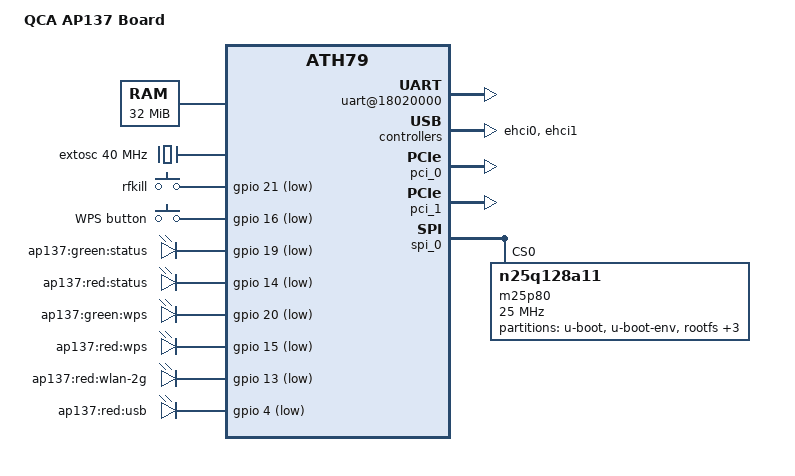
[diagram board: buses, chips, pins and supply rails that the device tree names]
/* Copyright (c) 2016, The Linux Foundation. All rights reserved.
 *
 * Permission to use, copy, modify, and/or distribute this software for any
 * purpose with or without fee is hereby granted, provided that the above
 * copyright notice and this permission notice appear in all copies.
 *
 * THE SOFTWARE IS PROVIDED "AS IS" AND THE AUTHOR DISCLAIMS ALL WARRANTIES
 * WITH REGARD TO THIS SOFTWARE INCLUDING ALL IMPLIED WARRANTIES OF
 * MERCHANTABILITY AND FITNESS. IN NO EVENT SHALL THE AUTHOR BE LIABLE FOR
 * ANY SPECIAL, DIRECT, INDIRECT, OR CONSEQUENTIAL DAMAGES OR ANY DAMAGES
 * WHATSOEVER RESULTING FROM LOSS OF USE, DATA OR PROFITS, WHETHER IN AN
 * ACTION OF CONTRACT, NEGLIGENCE OR OTHER TORTIOUS ACTION, ARISING OUT OF
 * OR IN CONNECTION WITH THE USE OR PERFORMANCE OF THIS SOFTWARE.
 *
 */

/dts-v1/;

#include <dt-bindings/gpio/gpio.h>
#include <dt-bindings/input/input.h>

#include "ath79.dtsi"

/ {
	compatible = "qca,ap137", "qca,ath79";
	model = "QCA AP137 Board";

	aliases {
		serial0 = "/ahb/apb/uart@18020000";
		pci0 = &pci_0;
		pci1 = &pci_1;
	};

	memory@0 {
		device_type = "memory";
		reg = <0x0 0x2000000>;
	};

	extosc: oscillator {
		compatible = "fixed-clock";
		#clock-cells = <0>;
		clock-frequency = <40000000>;
	};

	ahb {
		apb {
			uart@18020000 {
				status = "okay";
			};

			pll-controller@18050000 {
				clocks = <&extosc>;
			};

			ehci0: usb@1b000000 {
				compatible = "generic-ehci", "ehci-platform";
				reg = <0x1b000000 0x1000>;
				interrupt-parent = <&ip3_int>;
				interrupts = <0>;
				has-transaction-translator;
				qca_force_host_mode;
				qca_force_16bit_ptw;
				caps-offset = <0x100>;
				status = "okay";
			};

			ehci1: usb@1b400000 {
				compatible = "generic-ehci","ehci-platform";
				reg = <0x1b400000 0x1000>;
				interrupt-parent = <&ip3_int>;
				interrupts = <1>;
				has-transaction-translator;
				qca_force_host_mode;
				qca_force_16bit_ptw;
				caps-offset = <0x100>;
				status = "okay";
			};

			pci_0: pci@0x14000000 {
				compatible = "qca,ar724x-pci";
				reg = <0x14000000 0x1000>,
				      <0x180f0000 0x100>,
				      <0x180c0000 0x1000>,
				      <0x10000000 0x02000000>,
					<0 1>;
				reg-names = "cfg_base","ctrl_base","crp_base",
						"mem_base","io_base";
				interrupt-parent = <&ip2_int>;
				interrupts = <0>;
				status = "okay";
			};

			pci_1: pci@0x16000000 {
				compatible = "qca,ar724x-pci";
				reg = <0x16000000 0x1000>,
				      <0x18280000 0x100>,
				      <0x18250000 0x1000>,
				      <0x12000000 0x02000000>,
					<1 1>;
				reg-names = "cfg_base","ctrl_base","crp_base",
						"mem_base","io_base";
				interrupt-parent = <&ip3_int>;
				interrupts = <2>;
				status = "okay";
			};
		};

		spi_0: spi@1f000000 {
			status = "okay";
			m25p80@0 {
				#address-cells = <1>;
				#size-cells = <1>;
				compatible = "n25q128a11";
				linux,modalias = "m25p80", "n25q128a11";
				reg = <0>;
				spi-max-frequency = <25000000>;

				partition@0 {
					label = "u-boot";
					reg = <0x000000 0x040000>;
				};

				partition@1 {
					label = "u-boot-env";
					reg = <0x040000 0x050000>;
				};

				partition@2 {
					label = "rootfs";
					reg = <0x050000 0xe80000>;
				};

				partition@3 {
					label = "kernel";
					reg = <0xe80000 0xff0000>;
				};

				partition@4 {
					label = "art";
					reg = <0xff0000 0x1000000>;
				};

				partition@5 {
					label = "firmware";
					reg = <0x50000 0xff0000>;
				};
			};
		};

	};

	gpio-keys-polled {
		compatible = "gpio-keys-polled";
		#address-cells = <1>;
		#size-cells = <0>;

		poll-interval = <20>;
		button@0 {
			label = "rfkill";
			linux,code = <KEY_RFKILL>;
			gpios = <&gpio 21 GPIO_ACTIVE_LOW>;
			debounce-interval = <60>;
		};

		button@1 {
			label = "WPS button";
			linux,code = <KEY_WPS_BUTTON>;
			gpios = <&gpio 16 GPIO_ACTIVE_LOW>;
			debounce-interval = <60>;
		};
	};

	leds {
		compatible = "gpio-leds";
		led@0 {
			label = "ap137:green:status";
			gpios = <&gpio 19 GPIO_ACTIVE_LOW>;
		};

		led@1 {
			label = "ap137:red:status";
			gpios = <&gpio 14 GPIO_ACTIVE_LOW>;
		};

		led@2 {
			label = "ap137:green:wps";
			gpios = <&gpio 20 GPIO_ACTIVE_LOW>;
		};

		led@3 {
			label = "ap137:red:wps";
			gpios = <&gpio 15 GPIO_ACTIVE_LOW>;
		};

		led@4 {
			label = "ap137:red:wlan-2g";
			gpios = <&gpio 13 GPIO_ACTIVE_LOW>;
		};

		led@5 {
			label = "ap137:red:usb";
			gpios = <&gpio 4 GPIO_ACTIVE_LOW>;
		};
	};
};
